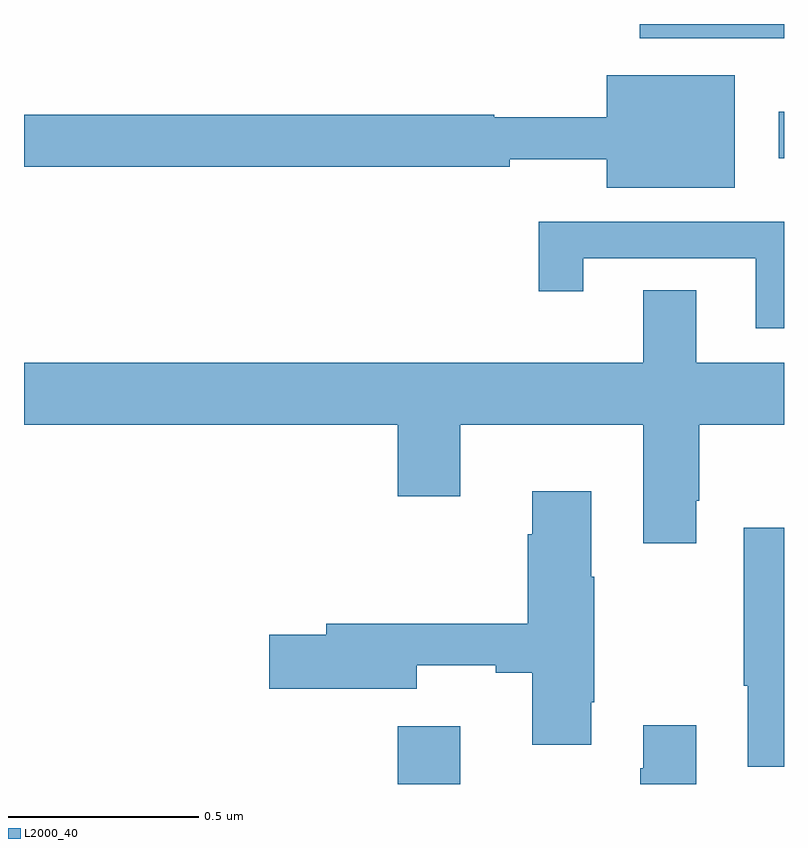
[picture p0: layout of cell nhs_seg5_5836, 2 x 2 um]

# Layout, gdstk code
import gdstk
lib = gdstk.Library(unit=1e-6, precision=1e-09)
def R(c, l, rs):  # rectangles x0, y0, x1, y1
    for r in rs: c.add(gdstk.rectangle(r[:2], r[2:], *l))
def P(c, l, *ps):  # polygons
    for p in ps: c.add(gdstk.Polygon(p, *l))
L2000_40 = (2000, 40)

nhs_seg5_5836 = lib.new_cell('nhs_seg5_5836')
R(nhs_seg5_5836, L2000_40, [(188.984,871.799,189.148,871.951), (189.986,873.446,190,873.568), (189.621,873.762,190,873.799)])
P(nhs_seg5_5836, L2000_40, [(189.871,873.664),(189.533,873.664),(189.533,873.553),(189.237,873.553),(189.237,873.56),(188,873.56),(188,873.424),(189.278,873.424),(189.278,873.443),(189.533,873.443),(189.533,873.368),(189.871,873.368)],
  [(190,873.279),(189.355,873.279),(189.355,873.096),(189.472,873.096),(189.472,873.183),(189.926,873.183),(189.926,872.999),(190,872.999)],
  [(189.769,872.545),(189.777,872.545),(189.777,872.744),(190,872.744),(190,872.908),(189.769,872.908),(189.769,873.098),(189.629,873.098),(189.629,872.908),(188,872.908),(188,872.744),(188.984,872.744),(188.984,872.556),(189.148,872.556),(189.148,872.744),(189.629,872.744),(189.629,872.433),(189.769,872.433)],
  [(189.493,872.014),(189.501,872.014),(189.501,872.345),(189.493,872.345),(189.493,872.569),(189.338,872.569),(189.338,872.456),(189.326,872.456),(189.326,872.221),(188.795,872.221),(188.795,872.192),(188.646,872.192),(188.646,872.05),(189.034,872.05),(189.034,872.111),(189.242,872.111),(189.242,872.092),(189.338,872.092),(189.338,871.902),(189.493,871.902)],
  [(190,872.473),(189.894,872.473),(189.894,872.057),(189.905,872.057),(189.905,871.845),(190,871.845)],
  [(189.769,871.954),(189.629,871.954),(189.629,871.841),(189.622,871.841),(189.622,871.799),(189.769,871.799)])

lib.write_gds('nhs_seg5_5836.gds')
